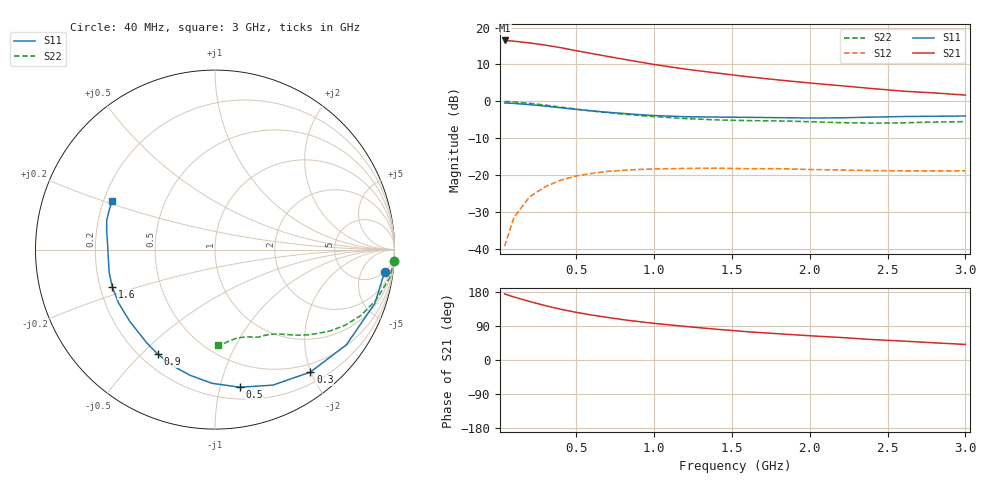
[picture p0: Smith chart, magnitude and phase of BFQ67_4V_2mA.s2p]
! Filename:  BFG67A.S2P  Version:  2.0
! Philips part #: BFG 67  Date: Jul 1990
! Bias condition: Vce=4V, Ic=2mA
! IN LINE PINNING: same data as with cross emitter pinning.
#  MHz  S  MA  R  50
! Freq  S11  S21  S12  S22  !GUM [dB]
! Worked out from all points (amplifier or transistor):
!   21 points, 40 MHz to 3 GHz, reference 50 ohm
!   highest |S21| = 16.5 dB at 40 MHz (marker M1)
!   |S21| within 3 dB of that: start of sweep to 530.2 MHz
!   unconditionally stable (mu >= 1): 2.147 GHz to end of sweep
!   at 300 MHz: K = 0.13, MSG = 19.2 dB, |S12| = -23.1 dB
!   at 1 GHz: K = 0.44, MSG = 14.1 dB, |S12| = -18.3 dB
!   at 3 GHz: K = 1.26, MAG = 7.2 dB, |S12| = -18.8 dB
!   S11 on the Smith chart (normalised r, x): 40 MHz: 5, -13; 300 MHz: 0.37, -1.99; 500 MHz: 0.30, -1.15; 900 MHz: 0.27, -0.56; 1.6 GHz: 0.25, -0.16; 3 GHz: 0.23, +0.21
40  0.953 -7.5  6.681 174.3  0.011 86.1  0.999 -3.5
100  0.94 -18.5  6.535 166.3  0.027 78.3  0.986 -9.1
200  0.904 -35.9  6.187 154.5  0.051 69.2  0.942 -17.1
300  0.865 -52.1  5.783 143.6  0.07 60.3  0.893 -24.2
400  0.821 -66.9  5.338 134.0  0.086 53.2  0.838 -30.2
500  0.779 -79.8  4.86 125.7  0.098 46.8  0.787 -35.1
600  0.745 -91.3  4.442 118.7  0.106 41.9  0.741 -39.0
700  0.714 -101.2  4.069 112.4  0.113 38.0  0.705 -42.3
800  0.688 -110.5  3.737 106.5  0.117 34.8  0.673 -45.1
900  0.664 -118.7  3.436 101.4  0.12 32.1  0.646 -47.4
1000  0.644 -126.2  3.164 96.7  0.122 29.8  0.623 -49.5
1200  0.621 -139.8  2.738 88.6  0.124 26.4  0.587 -53.2
1400  0.614 -151.1  2.428 81.2  0.125 23.8  0.562 -57.1
1600  0.609 -160.2  2.161 74.6  0.123 23.2  0.55 -60.8
1800  0.603 -168.0  1.951 69.2  0.123 22.8  0.544 -63.7
2000  0.596 -176.0  1.775 64.0  0.12 22.9  0.532 -66.4
2200  0.6 176.5  1.631 59.4  0.118 23.9  0.516 -70.4
2400  0.613 170.1  1.494 54.0  0.116 25.4  0.508 -75.6
2600  0.625 164.8  1.376 49.9  0.115 27.6  0.514 -80.6
2800  0.629 159.8  1.304 45.3  0.115 28.9  0.526 -84.7
3000  0.635 154.5  1.218 41.1  0.115 31.9  0.533 -88.1
